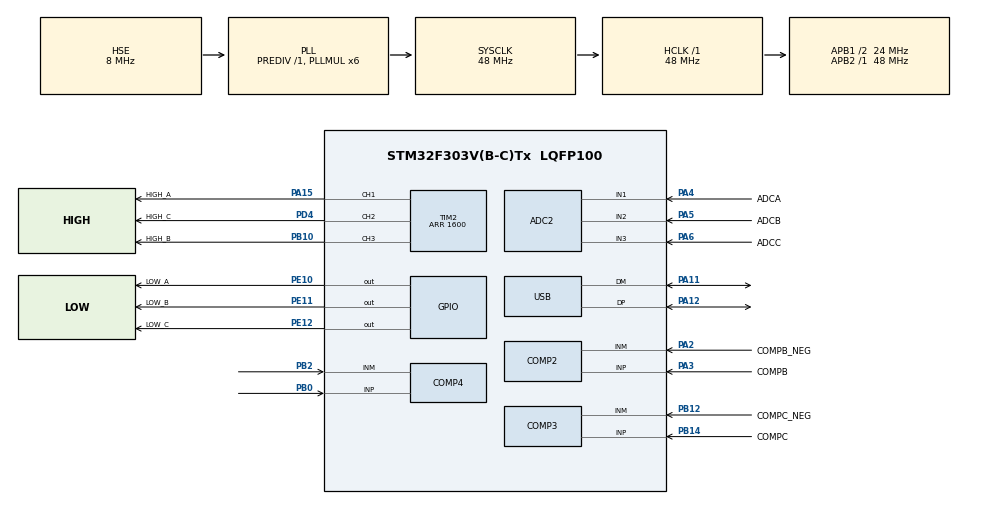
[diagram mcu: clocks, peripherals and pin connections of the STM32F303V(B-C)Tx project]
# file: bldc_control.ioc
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ADC2.Channel-0\#ChannelRegularConversion=ADC_CHANNEL_1
ADC2.NbrOfConversionFlag=1
ADC2.Offset-0\#ChannelRegularConversion=0
ADC2.OffsetNumber-0\#ChannelRegularConversion=ADC_OFFSET_NONE
ADC2.Rank-0\#ChannelRegularConversion=1
ADC2.SamplingTime-0\#ChannelRegularConversion=ADC_SAMPLETIME_1CYCLE_5
COMP2.Hysteresis=COMP_HYSTERESIS_NONE
COMP2.Mode=COMP_MODE_MEDIUMSPEED
COMP2.OutputPol=COMP_OUTPUTPOL_INVERTED
COMP2.TriggerMode=COMP_TRIGGERMODE_IT_RISING_FALLING
COMP3.Hysteresis=COMP_HYSTERESIS_NONE
COMP3.Mode=COMP_MODE_MEDIUMSPEED
COMP3.OutputPol=COMP_OUTPUTPOL_INVERTED
COMP3.TriggerMode=COMP_TRIGGERMODE_IT_RISING_FALLING
COMP4.Mode=COMP_MODE_MEDIUMSPEED
COMP4.OutputPol=COMP_OUTPUTPOL_INVERTED
COMP4.TriggerMode=COMP_TRIGGERMODE_IT_RISING_FALLING
FREERTOS.Tasks01=defaultTask,0,512,StartDefaultTask,Default,NULL,Dynamic,NULL,NULL
FREERTOS.configTOTAL_HEAP_SIZE=8192
Mcu.Family=STM32F3
Mcu.Name=STM32F303V(B-C)Tx
Mcu.Package=LQFP100
NVIC.COMP1_2_3_IRQn=true\:5\:0\:false\:false\:true\:true\:false\:true
NVIC.COMP4_5_6_IRQn=true\:5\:0\:false\:false\:true\:true\:false\:true
NVIC.PriorityGroup=NVIC_PRIORITYGROUP_4
NVIC.TIM1_UP_TIM16_IRQn=true\:0\:0\:false\:false\:true\:false\:false\:true
NVIC.TimeBase=TIM1_UP_TIM16_IRQn
NVIC.TimeBaseIP=TIM1
NVIC.USB_LP_CAN_RX0_IRQn=true\:5\:0\:false\:false\:true\:true\:false\:true
PA11.Mode=Device
PA11.Signal=USB_DM
PA12.Mode=Device
PA12.Signal=USB_DP
PA15.GPIO_Label=HIGH_A
PA15.GPIO_Speed=GPIO_SPEED_FREQ_HIGH
PA15.Signal=S_TIM2_CH1_ETR
PA2.GPIO_Label=COMPB_NEG
PA2.Mode=INM
PA2.Signal=COMP2_INM
PA3.GPIO_Label=COMPB
PA3.Mode=INP
PA3.Signal=COMP2_INP
PA4.GPIO_Label=ADCA
PA4.Mode=IN1-Single-Ended
PA4.Signal=ADC2_IN1
PA5.GPIO_Label=ADCB
PA5.Mode=IN2-Single-Ended
PA5.Signal=ADC2_IN2
PA6.GPIO_Label=ADCC
PA6.Mode=IN3-Single-Ended
PA6.Signal=ADC2_IN3
PB0.Mode=INP
PB0.Signal=COMP4_INP
PB10.GPIO_Label=HIGH_B
PB10.GPIO_Speed=GPIO_SPEED_FREQ_HIGH
PB10.Signal=S_TIM2_CH3
PB12.GPIO_Label=COMPC_NEG
PB12.Mode=INM
PB12.Signal=COMP3_INM
PB14.GPIO_Label=COMPC
PB14.Mode=INP
PB14.Signal=COMP3_INP
PB2.Mode=INM
PB2.Signal=COMP4_INM
PD4.GPIO_Label=HIGH_C
PD4.Signal=S_TIM2_CH2
PE10.GPIO_Label=LOW_A
PE10.GPIO_Speed=GPIO_SPEED_FREQ_HIGH
PE10.Signal=GPIO_Output
PE11.GPIO_Label=LOW_B
PE11.GPIO_Speed=GPIO_SPEED_FREQ_HIGH
PE11.Signal=GPIO_Output
PE12.GPIO_Label=LOW_C
PE12.Signal=GPIO_Output
PF0-OSC_IN.Mode=HSE-External-Oscillator
PF0-OSC_IN.Signal=RCC_OSC_IN
PF1-OSC_OUT.Mode=HSE-External-Oscillator
PF1-OSC_OUT.Signal=RCC_OSC_OUT
ProjectManager.HeapSize=0x200
ProjectManager.StackSize=0x400
ProjectManager.TargetToolchain=STM32CubeIDE
RCC.AHBFreq_Value=48000000
RCC.APB1CLKDivider=RCC_HCLK_DIV2
RCC.APB1Freq_Value=24000000
RCC.APB1TimFreq_Value=48000000
RCC.APB2Freq_Value=48000000
RCC.APB2TimFreq_Value=48000000
RCC.CortexFreq_Value=48000000
RCC.HCLKFreq_Value=48000000
RCC.HSE_VALUE=8000000
RCC.HSI_VALUE=8000000
RCC.LSE_VALUE=32768
RCC.PLLMUL=RCC_PLL_MUL6
RCC.SYSCLKFreq_VALUE=48000000
RCC.SYSCLKSourceVirtual=RCC_SYSCLKSOURCE_PLLCLK
RCC.USBFreq_Value=48000000
SH.S_TIM2_CH1_ETR.0=TIM2_CH1,PWM Generation1 CH1
SH.S_TIM2_CH2.0=TIM2_CH2,PWM Generation2 CH2
SH.S_TIM2_CH3.0=TIM2_CH3,PWM Generation3 CH3
TIM2.AutoReloadPreload=TIM_AUTORELOAD_PRELOAD_ENABLE
TIM2.Channel-PWM\ Generation1\ CH1=TIM_CHANNEL_1
TIM2.Channel-PWM\ Generation2\ CH2=TIM_CHANNEL_2
TIM2.Channel-PWM\ Generation3\ CH3=TIM_CHANNEL_3
TIM2.OCFastMode_PWM-PWM\ Generation1\ CH1=TIM_OCFAST_ENABLE
TIM2.OCFastMode_PWM-PWM\ Generation2\ CH2=TIM_OCFAST_ENABLE
TIM2.OCFastMode_PWM-PWM\ Generation3\ CH3=TIM_OCFAST_ENABLE
TIM2.Period=1600
USB_DEVICE.CLASS_NAME_FS=CDC
USB_DEVICE.VirtualMode=Cdc
USB_DEVICE.VirtualModeFS=Cdc_FS
VP_FREERTOS_VS_CMSIS_V1.Mode=CMSIS_V1
VP_SYS_VS_tim1.Mode=TIM1
VP_TIM2_VS_ClockSourceINT.Mode=Internal
VP_USB_DEVICE_VS_USB_DEVICE_CDC_FS.Mode=CDC_FS
board=STM32F3DISCOVERY

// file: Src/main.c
/* USER CODE BEGIN Header */
/**
  ******************************************************************************
  * @file           : main.c
  * @brief          : Main program body
  ******************************************************************************
  * @attention
  *
  * <h2><center>&copy; Copyright (c) 2019 STMicroelectronics.
  * All rights reserved.</center></h2>
  *
  * This software component is licensed by ST under BSD 3-Clause license,
  * the "License"; You may not use this file except in compliance with the
  * License. You may obtain a copy of the License at:
  *                        opensource.org/licenses/BSD-3-Clause
  *
  ******************************************************************************
  */
/* USER CODE END Header */

#include "main.h"
#include "cmsis_os.h"
#include "adc.h"
#include "comp.h"
#include "tim.h"
#include "usb_device.h"
#include "gpio.h"

void SystemClock_Config(void);
void MX_FREERTOS_Init(void);

int main(void)
{

  /* MCU Configuration--------------------------------------------------------*/

  /* Reset of all peripherals, Initializes the Flash interface and the Systick. */
  HAL_Init();

  /* Configure the system clock */
  SystemClock_Config();

  /* Initialize all configured peripherals */
  MX_GPIO_Init();
  MX_ADC2_Init();
  MX_COMP2_Init();
  MX_COMP3_Init();
  MX_TIM2_Init();
  MX_COMP4_Init();

  /* Call init function for freertos objects (in freertos.c) */
  MX_FREERTOS_Init();

  /* Start scheduler */
  osKernelStart();

  /* We should never get here as control is now taken by the scheduler */

  /* Infinite loop */
  while (1)
  {

  }
}

void SystemClock_Config(void)
{
  RCC_OscInitTypeDef RCC_OscInitStruct = {0};
  RCC_ClkInitTypeDef RCC_ClkInitStruct = {0};
  RCC_PeriphCLKInitTypeDef PeriphClkInit = {0};

  /** Initializes the CPU, AHB and APB busses clocks
  */
  RCC_OscInitStruct.OscillatorType = RCC_OSCILLATORTYPE_HSE;
  RCC_OscInitStruct.HSEState = RCC_HSE_ON;
  RCC_OscInitStruct.HSEPredivValue = RCC_HSE_PREDIV_DIV1;
  RCC_OscInitStruct.HSIState = RCC_HSI_ON;
  RCC_OscInitStruct.PLL.PLLState = RCC_PLL_ON;
  RCC_OscInitStruct.PLL.PLLSource = RCC_PLLSOURCE_HSE;
  RCC_OscInitStruct.PLL.PLLMUL = RCC_PLL_MUL6;
  if (HAL_RCC_OscConfig(&RCC_OscInitStruct) != HAL_OK)
  {
    Error_Handler();
  }
  /** Initializes the CPU, AHB and APB busses clocks
  */
  RCC_ClkInitStruct.ClockType = RCC_CLOCKTYPE_HCLK|RCC_CLOCKTYPE_SYSCLK
                              |RCC_CLOCKTYPE_PCLK1|RCC_CLOCKTYPE_PCLK2;
  RCC_ClkInitStruct.SYSCLKSource = RCC_SYSCLKSOURCE_PLLCLK;
  RCC_ClkInitStruct.AHBCLKDivider = RCC_SYSCLK_DIV1;
  RCC_ClkInitStruct.APB1CLKDivider = RCC_HCLK_DIV2;
  RCC_ClkInitStruct.APB2CLKDivider = RCC_HCLK_DIV1;

  if (HAL_RCC_ClockConfig(&RCC_ClkInitStruct, FLASH_LATENCY_1) != HAL_OK)
  {
    Error_Handler();
  }
  PeriphClkInit.PeriphClockSelection = RCC_PERIPHCLK_USB|RCC_PERIPHCLK_ADC12;
  PeriphClkInit.Adc12ClockSelection = RCC_ADC12PLLCLK_DIV1;
  PeriphClkInit.USBClockSelection = RCC_USBCLKSOURCE_PLL;
  if (HAL_RCCEx_PeriphCLKConfig(&PeriphClkInit) != HAL_OK)
  {
    Error_Handler();
  }
}

void HAL_TIM_PeriodElapsedCallback(TIM_HandleTypeDef *htim)
{
  if (htim->Instance == TIM1) {
    HAL_IncTick();
  }
}

void Error_Handler(void)
{
}

/************************ (C) COPYRIGHT STMicroelectronics *****END OF FILE****/

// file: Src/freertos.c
/* USER CODE BEGIN Header */
/**
  ******************************************************************************
  * File Name          : freertos.c
  * Description        : Code for freertos applications
  ******************************************************************************
  * @attention
  *
  * <h2><center>&copy; Copyright (c) 2019 STMicroelectronics.
  * All rights reserved.</center></h2>
  *
  * This software component is licensed by ST under Ultimate Liberty license
  * SLA0044, the "License"; You may not use this file except in compliance with
  * the License. You may obtain a copy of the License at:
  *                             www.st.com/SLA0044
  *
  ******************************************************************************
  */
/* USER CODE END Header */

#include "FreeRTOS.h"
#include "task.h"
#include "main.h"
#include "cmsis_os.h"

/* USER CODE BEGIN Includes */
#include "motor_control.h"
/* USER CODE END Includes */

osThreadId defaultTaskHandle;

void StartDefaultTask(void const * argument);

extern void MX_USB_DEVICE_Init(void);
void MX_FREERTOS_Init(void); /* (MISRA C 2004 rule 8.1) */

void MX_FREERTOS_Init(void) {

  /* Create the thread(s) */
  /* definition and creation of defaultTask */
  osThreadDef(defaultTask, StartDefaultTask, osPriorityNormal, 0, 512);
  defaultTaskHandle = osThreadCreate(osThread(defaultTask), NULL);

}

void StartDefaultTask(void const * argument)
{

  /* init code for USB_DEVICE */
  MX_USB_DEVICE_Init();

  /* USER CODE BEGIN StartDefaultTask */

  CoreDebug->DEMCR |= CoreDebug_DEMCR_TRCENA_Msk;
  DWT->CYCCNT = 0;
  DWT->CTRL |= DWT_CTRL_CYCCNTENA_Msk;

  /*
  typedef struct{
  	COMP_HandleTypeDef* compA, *compB, *compC;
  	TIM_HandleTypeDef* tim;
  	uint32_t high_a, high_b, high_c;
  	GPIO_TypeDef* port;
  	uint16_t low_a, low_b, low_c;
  	uint32_t max_period;
  }motor_config_t;*/

  motor_config_t mconf;

  mconf.compA = &hcomp4;
  mconf.compB = &hcomp2;
  mconf.compC = &hcomp3;
  mconf.tim = &htim2;
  mconf.high_a = TIM_CHANNEL_1;
  mconf.high_b = TIM_CHANNEL_3;
  mconf.high_c = TIM_CHANNEL_2;
  mconf.port = GPIOE;
  mconf.low_a = LOW_A_Pin;
  mconf.low_b = LOW_B_Pin;
  mconf.low_c = LOW_C_Pin;
  mconf.max_period = 1600;
  init_motor(mconf);
  set_motor_power(0.15);
  commutate_irq();
  osDelay(200);
  set_motor_power(0.15);
  /* Infinite loop */
  for(;;)
  {
	  //commutate_irq();
	  osDelay(100);
  }
  /* USER CODE END StartDefaultTask */
}

/************************ (C) COPYRIGHT STMicroelectronics *****END OF FILE****/
